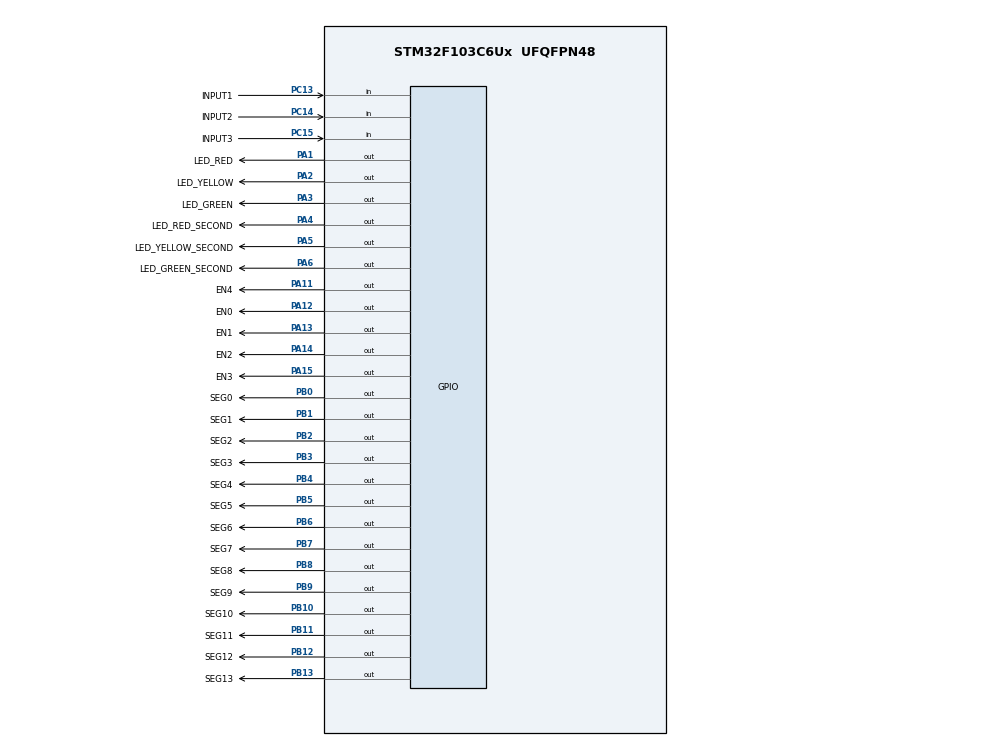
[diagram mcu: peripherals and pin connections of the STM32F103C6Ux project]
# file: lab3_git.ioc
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Mcu.Family=STM32F1
Mcu.Name=STM32F103C6Ux
Mcu.Package=UFQFPN48
NVIC.PriorityGroup=NVIC_PRIORITYGROUP_4
NVIC.TIM2_IRQn=true\:0\:0\:false\:false\:true\:true\:true
PA1.GPIO_Label=LED_RED
PA1.Signal=GPIO_Output
PA11.GPIO_Label=EN4
PA11.Signal=GPIO_Output
PA12.GPIO_Label=EN0
PA12.Signal=GPIO_Output
PA13.GPIO_Label=EN1
PA13.Signal=GPIO_Output
PA14.GPIO_Label=EN2
PA14.Signal=GPIO_Output
PA15.GPIO_Label=EN3
PA15.Signal=GPIO_Output
PA2.GPIO_Label=LED_YELLOW
PA2.Signal=GPIO_Output
PA3.GPIO_Label=LED_GREEN
PA3.Signal=GPIO_Output
PA4.GPIO_Label=LED_RED_SECOND
PA4.Signal=GPIO_Output
PA5.GPIO_Label=LED_YELLOW_SECOND
PA5.Signal=GPIO_Output
PA6.GPIO_Label=LED_GREEN_SECOND
PA6.Signal=GPIO_Output
PB0.GPIO_Label=SEG0
PB0.Signal=GPIO_Output
PB1.GPIO_Label=SEG1
PB1.Signal=GPIO_Output
PB10.GPIO_Label=SEG10
PB10.Signal=GPIO_Output
PB11.GPIO_Label=SEG11
PB11.Signal=GPIO_Output
PB12.GPIO_Label=SEG12
PB12.Signal=GPIO_Output
PB13.GPIO_Label=SEG13
PB13.Signal=GPIO_Output
PB2.GPIO_Label=SEG2
PB2.Signal=GPIO_Output
PB3.GPIO_Label=SEG3
PB3.Signal=GPIO_Output
PB4.GPIO_Label=SEG4
PB4.Signal=GPIO_Output
PB5.GPIO_Label=SEG5
PB5.Signal=GPIO_Output
PB6.GPIO_Label=SEG6
PB6.Signal=GPIO_Output
PB7.GPIO_Label=SEG7
PB7.Signal=GPIO_Output
PB8.GPIO_Label=SEG8
PB8.Signal=GPIO_Output
PB9.GPIO_Label=SEG9
PB9.Signal=GPIO_Output
PC13-TAMPER-RTC.GPIO_Label=INPUT1
PC13-TAMPER-RTC.GPIO_PuPd=GPIO_PULLUP
PC13-TAMPER-RTC.Signal=GPIO_Input
PC14-OSC32_IN.GPIO_Label=INPUT2
PC14-OSC32_IN.GPIO_PuPd=GPIO_PULLUP
PC14-OSC32_IN.Signal=GPIO_Input
PC15-OSC32_OUT.GPIO_Label=INPUT3
PC15-OSC32_OUT.GPIO_PuPd=GPIO_PULLUP
PC15-OSC32_OUT.Signal=GPIO_Input
ProjectManager.HeapSize=0x200
ProjectManager.StackSize=0x400
ProjectManager.TargetToolchain=STM32CubeIDE
RCC.APB1Freq_Value=8000000
RCC.APB2Freq_Value=8000000
TIM2.Period=9
TIM2.Prescaler=7999
VP_SYS_VS_ND.Mode=No_Debug
VP_TIM2_VS_ClockSourceINT.Mode=Internal
board=custom

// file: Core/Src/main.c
/* USER CODE BEGIN Header */
/**
  ******************************************************************************
  * @file           : main.c
  * @brief          : Main program body
  ******************************************************************************
  * @attention
  *
  * <h2><center>&copy; Copyright (c) 2024 STMicroelectronics.
  * All rights reserved.</center></h2>
  *
  * This software component is licensed by ST under BSD 3-Clause license,
  * the "License"; You may not use this file except in compliance with the
  * License. You may obtain a copy of the License at:
  *                        opensource.org/licenses/BSD-3-Clause
  *
  ******************************************************************************
  */
/* USER CODE END Header */
#include "main.h"

/* USER CODE BEGIN Includes */
#include "software_timer.h"
#include "button.h"
#include "fsm_automatic.h"
#include "global.h"
/* USER CODE END Includes */

TIM_HandleTypeDef htim2;

void SystemClock_Config(void);
static void MX_GPIO_Init(void);
static void MX_TIM2_Init(void);

/* USER CODE BEGIN 0 */
void displaySegment(int number);
void displaySegment1(int number);
void display7SEG(int number);
void display7SEG2(int number);
void reset_led_each_button();
/* USER CODE END 0 */

int main(void)
{

  /* MCU Configuration--------------------------------------------------------*/

  /* Reset of all peripherals, Initializes the Flash interface and the Systick. */
  HAL_Init();

  /* Configure the system clock */
  SystemClock_Config();

  /* Initialize all configured peripherals */
  MX_GPIO_Init();
  MX_TIM2_Init();
  /* USER CODE BEGIN 2 */
  HAL_TIM_Base_Start_IT(&htim2);
  /* USER CODE END 2 */

  /* Infinite loop */
  /* USER CODE BEGIN WHILE */
//  setTimer1(100);

  int mode = 1;

  int red_increase = 0;
  int green_increase = 0;
  int yellow_increase = 0;

  int increase_time = 100;
  int increase_time_in_led = 0;
  int default_red = 500;
  int default_yellow = 200;
  int default_green = 300;
  int limit_time = 10000; // only 10s instead of limit at 100s => real time somtimes can be > than the led time because we use only one led to display

  setTimer3(50);
  setTimer4(50);
  setTimer5(100);

  int index = 4;
  int index2 = 2;

  while (1)
  {
	  fsm_automatic_run_normally_1();
	  fsm_automatic_run_normally_2();

	  if(timer3_flag == 1){ // for control mode and count leds
		  setTimer3(50);
		  displaySegment(index);
		  if(index == 3){
			 display7SEG(mode);
		  }
		  if(index == 4){
		  	 display7SEG(increase_time_in_led);
		  }
		  index--;
		  if(index < 3){
			  index = 4;
		  }
	  }

	  if(timer4_flag == 1){ // for control traffic leds
		  setTimer4(50);
		  displaySegment1(index2);
		  if(index2 == 1){
			 display7SEG2(led_time_1);
		  }
		  if(index2 == 2){
		  	 display7SEG2(led_time_2);
		  }
		  index2--;
		  if(index2 < 1){
		  	  index2 =2;
		  }
	  }

	  if(timer5_flag == 1){
		  setTimer5(100);
		  led_time_1--;
		  led_time_2--;
	  }

	  if(isButton1Pressed() == 1){
		  // TODO
		  mode++;
		  reset_led_each_button();

		  if(mode == 5){
			  mode = 1;
		  }

		  // reset led
		  red_time = default_red;
		  green_time = default_green;
		  yellow_time = default_yellow;
		  status1 = INIT;
		  status2 = SECOND_INIT;
	  }

	  if(isButton2Pressed() == 1){ // increase time in count but not update in count
		  increase_time_in_led++;
		  if(increase_time_in_led == 10){
			  increase_time_in_led = 0;
		  }
		  if(mode == 2){
			  red_increase = red_increase + increase_time;
		  }
		  if(mode == 3){
			  green_increase = green_increase + increase_time;
		  }
		  if(mode == 4){
			  yellow_increase = yellow_increase + increase_time;
		  }
	  }

	  if(isButton3Pressed() == 1){ // set increase time
		  status1 = INIT;
		  status2 = SECOND_INIT;
		  if(mode == 2){
			  red_time = (default_red + red_increase); // + total
			  green_time = default_green;
			  yellow_time = default_yellow;
		  }
		  if(mode == 3){
			  green_time = (default_green + green_increase);
			  red_time = default_red;
			  yellow_time = default_yellow;
		  }
		  if(mode == 4){
			  yellow_time = (default_yellow + yellow_increase);
			  red_time = default_red;
			  green_time = default_green;
		  }
	  }

    /* USER CODE END WHILE */

  }
}

void reset_led_each_button(){
	HAL_GPIO_WritePin(LED_RED_GPIO_Port, LED_RED_Pin, GPIO_PIN_RESET);
	HAL_GPIO_WritePin(LED_GREEN_GPIO_Port, LED_GREEN_Pin, GPIO_PIN_RESET);
	HAL_GPIO_WritePin(LED_YELLOW_GPIO_Port, LED_YELLOW_Pin, GPIO_PIN_RESET);

	HAL_GPIO_WritePin(LED_RED_GPIO_Port, LED_RED_Pin, GPIO_PIN_RESET);
	HAL_GPIO_WritePin(LED_GREEN_GPIO_Port, LED_GREEN_Pin, GPIO_PIN_RESET);
	HAL_GPIO_WritePin(LED_YELLOW_GPIO_Port, LED_YELLOW_Pin, GPIO_PIN_RESET);
}

void displaySegment(int number){
	switch(number){
				case 3:
					HAL_GPIO_WritePin(EN2_GPIO_Port, EN2_Pin, RESET);
					HAL_GPIO_WritePin(EN3_GPIO_Port, EN3_Pin, SET);
					break;
				case 4:
					HAL_GPIO_WritePin(EN2_GPIO_Port, EN2_Pin, SET);
					HAL_GPIO_WritePin(EN3_GPIO_Port, EN3_Pin, RESET);
					break;
			}
}

void displaySegment1(int number){
	switch(number){
				case 1:
					HAL_GPIO_WritePin(EN0_GPIO_Port, EN0_Pin, RESET);
					HAL_GPIO_WritePin(EN1_GPIO_Port, EN1_Pin, SET);
					break;
				case 2:
					HAL_GPIO_WritePin(EN0_GPIO_Port, EN0_Pin, SET);
					HAL_GPIO_WritePin(EN1_GPIO_Port, EN1_Pin, RESET);
					break;
			}
}

void display7SEG(int number){

	switch(number) {
	    case 0:
	        HAL_GPIO_WritePin(SEG0_GPIO_Port, SEG0_Pin, RESET);
	        HAL_GPIO_WritePin(SEG1_GPIO_Port, SEG1_Pin, RESET);
	        HAL_GPIO_WritePin(SEG2_GPIO_Port, SEG2_Pin, RESET);
	        HAL_GPIO_WritePin(SEG3_GPIO_Port, SEG3_Pin, RESET);
	        HAL_GPIO_WritePin(SEG4_GPIO_Port, SEG4_Pin, RESET);
	        HAL_GPIO_WritePin(SEG5_GPIO_Port, SEG5_Pin, RESET);
	        HAL_GPIO_WritePin(SEG6_GPIO_Port, SEG6_Pin, SET);
	        break;
	    case 1:
	        HAL_GPIO_WritePin(SEG0_GPIO_Port, SEG0_Pin, SET);
	        HAL_GPIO_WritePin(SEG1_GPIO_Port, SEG1_Pin, RESET);
	        HAL_GPIO_WritePin(SEG2_GPIO_Port, SEG2_Pin, RESET);
	        HAL_GPIO_WritePin(SEG3_GPIO_Port, SEG3_Pin, SET);
	        HAL_GPIO_WritePin(SEG4_GPIO_Port, SEG4_Pin, SET);
	        HAL_GPIO_WritePin(SEG5_GPIO_Port, SEG5_Pin, SET);
	        HAL_GPIO_WritePin(SEG6_GPIO_Port, SEG6_Pin, SET);
	        break;
	    case 2:
	        HAL_GPIO_WritePin(SEG0_GPIO_Port, SEG0_Pin, RESET);
	        HAL_GPIO_WritePin(SEG1_GPIO_Port, SEG1_Pin, RESET);
	        HAL_GPIO_WritePin(SEG2_GPIO_Port, SEG2_Pin, SET);
	        HAL_GPIO_WritePin(SEG3_GPIO_Port, SEG3_Pin, RESET);
	        HAL_GPIO_WritePin(SEG4_GPIO_Port, SEG4_Pin, RESET);
	        HAL_GPIO_WritePin(SEG5_GPIO_Port, SEG5_Pin, SET);
	        HAL_GPIO_WritePin(SEG6_GPIO_Port, SEG6_Pin, RESET);
	        break;
	    case 3:
	        HAL_GPIO_WritePin(SEG0_GPIO_Port, SEG0_Pin, RESET);
	        HAL_GPIO_WritePin(SEG1_GPIO_Port, SEG1_Pin, RESET);
	        HAL_GPIO_WritePin(SEG2_GPIO_Port, SEG2_Pin, RESET);
	        HAL_GPIO_WritePin(SEG3_GPIO_Port, SEG3_Pin, RESET);
	        HAL_GPIO_WritePin(SEG4_GPIO_Port, SEG4_Pin, SET);
	        HAL_GPIO_WritePin(SEG5_GPIO_Port, SEG5_Pin, SET);
	        HAL_GPIO_WritePin(SEG6_GPIO_Port, SEG6_Pin, RESET);
	        break;
	    case 4:
	        HAL_GPIO_WritePin(SEG0_GPIO_Port, SEG0_Pin, SET);
	        HAL_GPIO_WritePin(SEG1_GPIO_Port, SEG1_Pin, RESET);
	        HAL_GPIO_WritePin(SEG2_GPIO_Port, SEG2_Pin, RESET);
	        HAL_GPIO_WritePin(SEG3_GPIO_Port, SEG3_Pin, SET);
	        HAL_GPIO_WritePin(SEG4_GPIO_Port, SEG4_Pin, SET);
	        HAL_GPIO_WritePin(SEG5_GPIO_Port, SEG5_Pin, RESET);
	        HAL_GPIO_WritePin(SEG6_GPIO_Port, SEG6_Pin, RESET);
	        break;
	    case 5:
	        HAL_GPIO_WritePin(SEG0_GPIO_Port, SEG0_Pin, RESET);
	        HAL_GPIO_WritePin(SEG1_GPIO_Port, SEG1_Pin, SET);
	        HAL_GPIO_WritePin(SEG2_GPIO_Port, SEG2_Pin, RESET);
	        HAL_GPIO_WritePin(SEG3_GPIO_Port, SEG3_Pin, RESET);
	        HAL_GPIO_WritePin(SEG4_GPIO_Port, SEG4_Pin, SET);
	        HAL_GPIO_WritePin(SEG5_GPIO_Port, SEG5_Pin, RESET);
	        HAL_GPIO_WritePin(SEG6_GPIO_Port, SEG6_Pin, RESET);
	        break;
	    case 6:
	        HAL_GPIO_WritePin(SEG0_GPIO_Port, SEG0_Pin, RESET);
	        HAL_GPIO_WritePin(SEG1_GPIO_Port, SEG1_Pin, SET);
	        HAL_GPIO_WritePin(SEG2_GPIO_Port, SEG2_Pin, RESET);
	        HAL_GPIO_WritePin(SEG3_GPIO_Port, SEG3_Pin, RESET);
	        HAL_GPIO_WritePin(SEG4_GPIO_Port, SEG4_Pin, RESET);
	        HAL_GPIO_WritePin(SEG5_GPIO_Port, SEG5_Pin, RESET);
	        HAL_GPIO_WritePin(SEG6_GPIO_Port, SEG6_Pin, RESET);
	        break;
	    case 7:
	        HAL_GPIO_WritePin(SEG0_GPIO_Port, SEG0_Pin, RESET);
	        HAL_GPIO_WritePin(SEG1_GPIO_Port, SEG1_Pin, RESET);
	        HAL_GPIO_WritePin(SEG2_GPIO_Port, SEG2_Pin, RESET);
	        HAL_GPIO_WritePin(SEG3_GPIO_Port, SEG3_Pin, SET);
	        HAL_GPIO_WritePin(SEG4_GPIO_Port, SEG4_Pin, SET);
	        HAL_GPIO_WritePin(SEG5_GPIO_Port, SEG5_Pin, SET);
	        HAL_GPIO_WritePin(SEG6_GPIO_Port, SEG6_Pin, SET);
	        break;
	    case 8:
	        HAL_GPIO_WritePin(SEG0_GPIO_Port, SEG0_Pin, RESET);
	        HAL_GPIO_WritePin(SEG1_GPIO_Port, SEG1_Pin, RESET);
	        HAL_GPIO_WritePin(SEG2_GPIO_Port, SEG2_Pin, RESET);
	        HAL_GPIO_WritePin(SEG3_GPIO_Port, SEG3_Pin, RESET);
	        HAL_GPIO_WritePin(SEG4_GPIO_Port, SEG4_Pin, RESET);
	        HAL_GPIO_WritePin(SEG5_GPIO_Port, SEG5_Pin, RESET);
	        HAL_GPIO_WritePin(SEG6_GPIO_Port, SEG6_Pin, RESET);
	        break;
	    case 9:
	        HAL_GPIO_WritePin(SEG0_GPIO_Port, SEG0_Pin, RESET);
	        HAL_GPIO_WritePin(SEG1_GPIO_Port, SEG1_Pin, RESET);
	        HAL_GPIO_WritePin(SEG2_GPIO_Port, SEG2_Pin, RESET);
	        HAL_GPIO_WritePin(SEG3_GPIO_Port, SEG3_Pin, RESET);
	        HAL_GPIO_WritePin(SEG4_GPIO_Port, SEG4_Pin, SET);
	        HAL_GPIO_WritePin(SEG5_GPIO_Port, SEG5_Pin, RESET);
	        HAL_GPIO_WritePin(SEG6_GPIO_Port, SEG6_Pin, RESET);
	        break;
	    default:
	        // Handle invalid number
	        break;
	}

}

void display7SEG2(int number){

	if(number == 0){
		HAL_GPIO_WritePin(SEG7_GPIO_Port, SEG7_Pin, RESET);
		HAL_GPIO_WritePin(SEG8_GPIO_Port, SEG8_Pin, RESET);
		HAL_GPIO_WritePin(SEG9_GPIO_Port, SEG9_Pin, RESET);
		HAL_GPIO_WritePin(SEG10_GPIO_Port, SEG10_Pin, RESET);
		HAL_GPIO_WritePin(SEG11_GPIO_Port, SEG11_Pin, RESET);
		HAL_GPIO_WritePin(SEG12_GPIO_Port, SEG12_Pin, RESET);
		HAL_GPIO_WritePin(SEG13_GPIO_Port, SEG13_Pin, SET);
	}

	if(number == 1){
	    HAL_GPIO_WritePin(SEG7_GPIO_Port, SEG7_Pin, SET);
	    HAL_GPIO_WritePin(SEG8_GPIO_Port, SEG8_Pin, RESET);
	    HAL_GPIO_WritePin(SEG9_GPIO_Port, SEG9_Pin, RESET);
	    HAL_GPIO_WritePin(SEG10_GPIO_Port, SEG10_Pin, SET);
	    HAL_GPIO_WritePin(SEG11_GPIO_Port, SEG11_Pin, SET);
	    HAL_GPIO_WritePin(SEG12_GPIO_Port, SEG12_Pin, SET);
	    HAL_GPIO_WritePin(SEG13_GPIO_Port, SEG13_Pin, SET);
	}

	if(number == 2){
	    HAL_GPIO_WritePin(SEG7_GPIO_Port, SEG7_Pin, RESET);
	    HAL_GPIO_WritePin(SEG8_GPIO_Port, SEG8_Pin, RESET);
	    HAL_GPIO_WritePin(SEG9_GPIO_Port, SEG9_Pin, SET); // set
	    HAL_GPIO_WritePin(SEG10_GPIO_Port, SEG10_Pin, RESET);
	    HAL_GPIO_WritePin(SEG11_GPIO_Port, SEG11_Pin, RESET);
	    HAL_GPIO_WritePin(SEG12_GPIO_Port, SEG12_Pin, SET); // set
	    HAL_GPIO_WritePin(SEG13_GPIO_Port, SEG13_Pin, RESET);
	}

	if(number == 3){ // a b c d g
	    HAL_GPIO_WritePin(SEG7_GPIO_Port, SEG7_Pin, RESET);
	    HAL_GPIO_WritePin(SEG8_GPIO_Port, SEG8_Pin, RESET);
	    HAL_GPIO_WritePin(SEG9_GPIO_Port, SEG9_Pin, RESET);
	    HAL_GPIO_WritePin(SEG10_GPIO_Port, SEG10_Pin, RESET);
	    HAL_GPIO_WritePin(SEG11_GPIO_Port, SEG11_Pin, SET);
	    HAL_GPIO_WritePin(SEG12_GPIO_Port, SEG12_Pin, SET);
	    HAL_GPIO_WritePin(SEG13_GPIO_Port, SEG13_Pin, RESET);
	}

	if(number == 4){ // b c f g
	    HAL_GPIO_WritePin(SEG7_GPIO_Port, SEG7_Pin, SET);
	    HAL_GPIO_WritePin(SEG8_GPIO_Port, SEG8_Pin, RESET);
	    HAL_GPIO_WritePin(SEG9_GPIO_Port, SEG9_Pin, RESET); // set
	    HAL_GPIO_WritePin(SEG10_GPIO_Port, SEG10_Pin, SET);
	    HAL_GPIO_WritePin(SEG11_GPIO_Port, SEG11_Pin, SET);
	    HAL_GPIO_WritePin(SEG12_GPIO_Port, SEG12_Pin, RESET); // set
	    HAL_GPIO_WritePin(SEG13_GPIO_Port, SEG13_Pin, RESET);
	}

	if(number == 5){ // a c d f g
	    HAL_GPIO_WritePin(SEG7_GPIO_Port, SEG7_Pin, RESET);
	    HAL_GPIO_WritePin(SEG8_GPIO_Port, SEG8_Pin, SET);
	    HAL_GPIO_WritePin(SEG9_GPIO_Port, SEG9_Pin, RESET);
	    HAL_GPIO_WritePin(SEG10_GPIO_Port, SEG10_Pin, RESET);
	    HAL_GPIO_WritePin(SEG11_GPIO_Port, SEG11_Pin, SET);
	    HAL_GPIO_WritePin(SEG12_GPIO_Port, SEG12_Pin, RESET);
	    HAL_GPIO_WritePin(SEG13_GPIO_Port, SEG13_Pin, RESET);
	}

	if(number == 6){
	    HAL_GPIO_WritePin(SEG7_GPIO_Port, SEG7_Pin, RESET);
	    HAL_GPIO_WritePin(SEG8_GPIO_Port, SEG8_Pin, SET);
	    HAL_GPIO_WritePin(SEG9_GPIO_Port, SEG9_Pin, RESET); // set
	    HAL_GPIO_WritePin(SEG10_GPIO_Port, SEG10_Pin, RESET);
	    HAL_GPIO_WritePin(SEG11_GPIO_Port, SEG11_Pin, RESET);
	    HAL_GPIO_WritePin(SEG12_GPIO_Port, SEG12_Pin, RESET); // set
	    HAL_GPIO_WritePin(SEG13_GPIO_Port, SEG13_Pin, RESET);
	}

	if(number == 7){
	    HAL_GPIO_WritePin(SEG7_GPIO_Port, SEG7_Pin, RESET);
	    HAL_GPIO_WritePin(SEG8_GPIO_Port, SEG8_Pin, RESET);
	    HAL_GPIO_WritePin(SEG9_GPIO_Port, SEG9_Pin, RESET);
	    HAL_GPIO_WritePin(SEG10_GPIO_Port, SEG10_Pin, SET);
	    HAL_GPIO_WritePin(SEG11_GPIO_Port, SEG11_Pin, SET);
	    HAL_GPIO_WritePin(SEG12_GPIO_Port, SEG12_Pin, SET);
	    HAL_GPIO_WritePin(SEG13_GPIO_Port, SEG13_Pin, SET);
	}

	if(number == 8){
	    HAL_GPIO_WritePin(SEG7_GPIO_Port, SEG7_Pin, RESET);
	    HAL_GPIO_WritePin(SEG8_GPIO_Port, SEG8_Pin, RESET);
	    HAL_GPIO_WritePin(SEG9_GPIO_Port, SEG9_Pin, RESET); // set
	    HAL_GPIO_WritePin(SEG10_GPIO_Port, SEG10_Pin, RESET);
	    HAL_GPIO_WritePin(SEG11_GPIO_Port, SEG11_Pin, RESET);
	    HAL_GPIO_WritePin(SEG12_GPIO_Port, SEG12_Pin, RESET); // set
	    HAL_GPIO_WritePin(SEG13_GPIO_Port, SEG13_Pin, RESET);
	}

	if(number == 9){
	    HAL_GPIO_WritePin(SEG7_GPIO_Port, SEG7_Pin, RESET);
	    HAL_GPIO_WritePin(SEG8_GPIO_Port, SEG8_Pin, RESET);
	    HAL_GPIO_WritePin(SEG9_GPIO_Port, SEG9_Pin, RESET);
	    HAL_GPIO_WritePin(SEG10_GPIO_Port, SEG10_Pin, RESET);
	    HAL_GPIO_WritePin(SEG11_GPIO_Port, SEG11_Pin, SET);
	    HAL_GPIO_WritePin(SEG12_GPIO_Port, SEG12_Pin, RESET);
	    HAL_GPIO_WritePin(SEG13_GPIO_Port, SEG13_Pin, RESET);
	}

}

void SystemClock_Config(void)
{
  RCC_OscInitTypeDef RCC_OscInitStruct = {0};
  RCC_ClkInitTypeDef RCC_ClkInitStruct = {0};

  /** Initializes the RCC Oscillators according to the specified parameters
  * in the RCC_OscInitTypeDef structure.
  */
  RCC_OscInitStruct.OscillatorType = RCC_OSCILLATORTYPE_HSI;
  RCC_OscInitStruct.HSIState = RCC_HSI_ON;
  RCC_OscInitStruct.HSICalibrationValue = RCC_HSICALIBRATION_DEFAULT;
  RCC_OscInitStruct.PLL.PLLState = RCC_PLL_NONE;
  if (HAL_RCC_OscConfig(&RCC_OscInitStruct) != HAL_OK)
  {
    Error_Handler();
  }
  /** Initializes the CPU, AHB and APB buses clocks
  */
  RCC_ClkInitStruct.ClockType = RCC_CLOCKTYPE_HCLK|RCC_CLOCKTYPE_SYSCLK
                              |RCC_CLOCKTYPE_PCLK1|RCC_CLOCKTYPE_PCLK2;
  RCC_ClkInitStruct.SYSCLKSource = RCC_SYSCLKSOURCE_HSI;
  RCC_ClkInitStruct.AHBCLKDivider = RCC_SYSCLK_DIV1;
  RCC_ClkInitStruct.APB1CLKDivider = RCC_HCLK_DIV1;
  RCC_ClkInitStruct.APB2CLKDivider = RCC_HCLK_DIV1;

  if (HAL_RCC_ClockConfig(&RCC_ClkInitStruct, FLASH_LATENCY_0) != HAL_OK)
  {
    Error_Handler();
  }
}

static void MX_TIM2_Init(void)
{

  TIM_ClockConfigTypeDef sClockSourceConfig = {0};
  TIM_MasterConfigTypeDef sMasterConfig = {0};

  htim2.Instance = TIM2;
  htim2.Init.Prescaler = 7999;
  htim2.Init.CounterMode = TIM_COUNTERMODE_UP;
  htim2.Init.Period = 9;
  htim2.Init.ClockDivision = TIM_CLOCKDIVISION_DIV1;
  htim2.Init.AutoReloadPreload = TIM_AUTORELOAD_PRELOAD_DISABLE;
  if (HAL_TIM_Base_Init(&htim2) != HAL_OK)
  {
    Error_Handler();
  }
  sClockSourceConfig.ClockSource = TIM_CLOCKSOURCE_INTERNAL;
  if (HAL_TIM_ConfigClockSource(&htim2, &sClockSourceConfig) != HAL_OK)
  {
    Error_Handler();
  }
  sMasterConfig.MasterOutputTrigger = TIM_TRGO_RESET;
  sMasterConfig.MasterSlaveMode = TIM_MASTERSLAVEMODE_DISABLE;
  if (HAL_TIMEx_MasterConfigSynchronization(&htim2, &sMasterConfig) != HAL_OK)
  {
    Error_Handler();
  }

}

static void MX_GPIO_Init(void)
{
  GPIO_InitTypeDef GPIO_InitStruct = {0};

  /* GPIO Ports Clock Enable */
  __HAL_RCC_GPIOC_CLK_ENABLE();
  __HAL_RCC_GPIOA_CLK_ENABLE();
  __HAL_RCC_GPIOB_CLK_ENABLE();

  /*Configure GPIO pin Output Level */
  HAL_GPIO_WritePin(GPIOA, LED_RED_Pin|LED_YELLOW_Pin|LED_GREEN_Pin|LED_RED_SECOND_Pin
                          |LED_YELLOW_SECOND_Pin|LED_GREEN_SECOND_Pin|EN4_Pin|EN0_Pin
                          |EN1_Pin|EN2_Pin|EN3_Pin, GPIO_PIN_RESET);

  /*Configure GPIO pin Output Level */
  HAL_GPIO_WritePin(GPIOB, SEG0_Pin|SEG1_Pin|SEG2_Pin|SEG10_Pin
                          |SEG11_Pin|SEG12_Pin|SEG13_Pin|SEG3_Pin
                          |SEG4_Pin|SEG5_Pin|SEG6_Pin|SEG7_Pin
                          |SEG8_Pin|SEG9_Pin, GPIO_PIN_RESET);

  /*Configure GPIO pins : INPUT1_Pin INPUT2_Pin INPUT3_Pin */
  GPIO_InitStruct.Pin = INPUT1_Pin|INPUT2_Pin|INPUT3_Pin;
  GPIO_InitStruct.Mode = GPIO_MODE_INPUT;
  GPIO_InitStruct.Pull = GPIO_PULLUP;
  HAL_GPIO_Init(GPIOC, &GPIO_InitStruct);

  /*Configure GPIO pins : LED_RED_Pin LED_YELLOW_Pin LED_GREEN_Pin LED_RED_SECOND_Pin
                           LED_YELLOW_SECOND_Pin LED_GREEN_SECOND_Pin EN4_Pin EN0_Pin
                           EN1_Pin EN2_Pin EN3_Pin */
  GPIO_InitStruct.Pin = LED_RED_Pin|LED_YELLOW_Pin|LED_GREEN_Pin|LED_RED_SECOND_Pin
                          |LED_YELLOW_SECOND_Pin|LED_GREEN_SECOND_Pin|EN4_Pin|EN0_Pin
                          |EN1_Pin|EN2_Pin|EN3_Pin;
  GPIO_InitStruct.Mode = GPIO_MODE_OUTPUT_PP;
  GPIO_InitStruct.Pull = GPIO_NOPULL;
  GPIO_InitStruct.Speed = GPIO_SPEED_FREQ_LOW;
  HAL_GPIO_Init(GPIOA, &GPIO_InitStruct);

  /*Configure GPIO pins : SEG0_Pin SEG1_Pin SEG2_Pin SEG10_Pin
                           SEG11_Pin SEG12_Pin SEG13_Pin SEG3_Pin
                           SEG4_Pin SEG5_Pin SEG6_Pin SEG7_Pin
                           SEG8_Pin SEG9_Pin */
  GPIO_InitStruct.Pin = SEG0_Pin|SEG1_Pin|SEG2_Pin|SEG10_Pin
                          |SEG11_Pin|SEG12_Pin|SEG13_Pin|SEG3_Pin
                          |SEG4_Pin|SEG5_Pin|SEG6_Pin|SEG7_Pin
                          |SEG8_Pin|SEG9_Pin;
  GPIO_InitStruct.Mode = GPIO_MODE_OUTPUT_PP;
  GPIO_InitStruct.Pull = GPIO_NOPULL;
  GPIO_InitStruct.Speed = GPIO_SPEED_FREQ_LOW;
  HAL_GPIO_Init(GPIOB, &GPIO_InitStruct);

}

/* USER CODE BEGIN 4 */

void HAL_TIM_PeriodElapsedCallback(TIM_HandleTypeDef *htim){
	timer1Run();
	timer2Run();
	timer3Run();
	timer4Run();
	timer5Run();
	timer6Run();
	getKeyInput1();
	getKeyInput2();
	getKeyInput3();
}
/* USER CODE END 4 */

void Error_Handler(void)
{
  __disable_irq();
  while (1)
  {
  }
}

/************************ (C) COPYRIGHT STMicroelectronics *****END OF FILE****/
